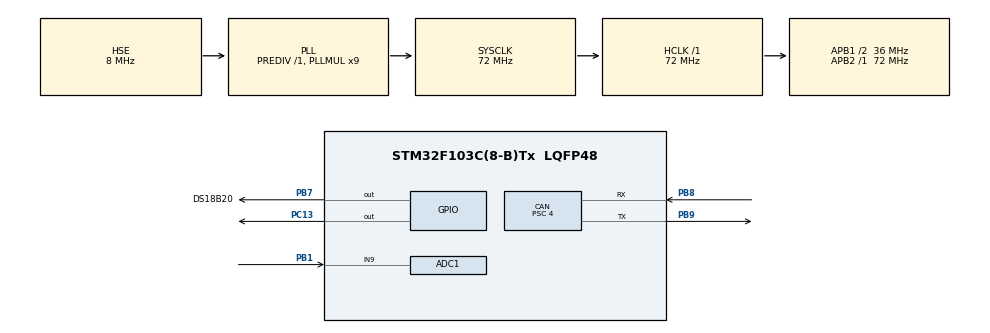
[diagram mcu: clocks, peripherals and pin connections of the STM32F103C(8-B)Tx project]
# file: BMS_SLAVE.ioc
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ADC1.Channel-0\#ChannelRegularConversion=ADC_CHANNEL_9
ADC1.ContinuousConvMode=DISABLE
ADC1.NbrOfConversionFlag=1
ADC1.Rank-0\#ChannelRegularConversion=1
ADC1.SamplingTime-0\#ChannelRegularConversion=ADC_SAMPLETIME_71CYCLES_5
ADC1.master=1
CAN.BS1=CAN_BS1_15TQ
CAN.BS2=CAN_BS2_2TQ
CAN.CalculateBaudRate=500000
CAN.CalculateTimeBit=2000
CAN.CalculateTimeQuantum=111.11111111111111
CAN.Prescaler=4
Mcu.Family=STM32F1
Mcu.Name=STM32F103C(8-B)Tx
Mcu.Package=LQFP48
NVIC.ADC1_2_IRQn=true\:0\:0\:false\:false\:true\:true\:true\:true
NVIC.PriorityGroup=NVIC_PRIORITYGROUP_4
NVIC.TIM2_IRQn=true\:0\:0\:false\:false\:true\:true\:true\:true
NVIC.USB_LP_CAN1_RX0_IRQn=true\:0\:0\:false\:false\:true\:true\:true\:true
PA13.Mode=Serial_Wire
PA13.Signal=SYS_JTMS-SWDIO
PA14.Mode=Serial_Wire
PA14.Signal=SYS_JTCK-SWCLK
PB1.Signal=ADCx_IN9
PB7.GPIO_Label=DS18B20
PB7.GPIO_ModeDefaultOutputPP=GPIO_MODE_OUTPUT_OD
PB7.GPIO_PuPd=GPIO_NOPULL
PB7.GPIO_Speed=GPIO_SPEED_FREQ_HIGH
PB7.PinState=GPIO_PIN_SET
PB7.Signal=GPIO_Output
PB8.Mode=CAN_Activate
PB8.Signal=CAN_RX
PB9.Mode=CAN_Activate
PB9.Signal=CAN_TX
PC13-TAMPER-RTC.Signal=GPIO_Output
PD0-OSC_IN.Mode=HSE-External-Oscillator
PD0-OSC_IN.Signal=RCC_OSC_IN
PD1-OSC_OUT.Mode=HSE-External-Oscillator
PD1-OSC_OUT.Signal=RCC_OSC_OUT
ProjectManager.HeapSize=0x200
ProjectManager.StackSize=0x400
ProjectManager.TargetToolchain=STM32CubeIDE
RCC.ADCPresc=RCC_ADCPCLK2_DIV6
RCC.AHBFreq_Value=72000000
RCC.APB1CLKDivider=RCC_HCLK_DIV2
RCC.APB1Freq_Value=36000000
RCC.APB1TimFreq_Value=72000000
RCC.APB2Freq_Value=72000000
RCC.APB2TimFreq_Value=72000000
RCC.HCLKFreq_Value=72000000
RCC.PLLMUL=RCC_PLL_MUL9
RCC.PLLSourceVirtual=RCC_PLLSOURCE_HSE
RCC.SYSCLKFreq_VALUE=72000000
RCC.SYSCLKSource=RCC_SYSCLKSOURCE_PLLCLK
RCC.USBFreq_Value=72000000
SH.ADCx_IN9.0=ADC1_IN9,IN9
TIM2.Period=99
TIM2.Prescaler=719
TIM4.Prescaler=72-1
VP_TIM2_VS_ClockSourceINT.Mode=Internal
VP_TIM4_VS_ClockSourceINT.Mode=Internal
board=custom

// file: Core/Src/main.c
/* USER CODE BEGIN Header */
/**
 * @file      main.c
 * @author    Do Dang Gia Huy
 * @brief     Board bring-up and scheduler start for the BMS slave node.
 * @date      2026-02-10
 * @copyright Peripheral initialisation generated by STM32CubeMX,
 *            Copyright (c) 2026 STMicroelectronics, licensed under the
 *            terms found in the LICENSE file of that software component.
 *            Application code Copyright (c) 2026 Do Dang Gia Huy.
 *
 * Everything OUTSIDE the USER CODE markers is regenerated from
 * BMS_SLAVE.ioc and must not be edited by hand.
 */
/* USER CODE END Header */
#include "main.h"

/* USER CODE BEGIN Includes */
#include "Scheduler.h"
#include "Shared_Data.h"
#include "BMS_CAN.h"
#include "Task_Voltage.h"
#include "Task_CAN.h"
#include "Task_Temperature.h"
#include "Task_Sleep.h"
#include "Task_SOC.h"
#include "ds18b20.h"
#include "BMS_ADC.h"
#include "Board_Config.h"
#include "Debug_Pins.h"
/* USER CODE END Includes */

ADC_HandleTypeDef hadc1;

CAN_HandleTypeDef hcan;

TIM_HandleTypeDef htim2;
TIM_HandleTypeDef htim4;

void SystemClock_Config(void);
static void MX_GPIO_Init(void);
static void MX_ADC1_Init(void);
static void MX_CAN_Init(void);
static void MX_TIM2_Init(void);
static void MX_TIM4_Init(void);

int main(void)
{

  /* USER CODE BEGIN 1 */

  uint32_t start_delay;

  /* USER CODE END 1 */

  /* MCU Configuration--------------------------------------------------------*/

  /* Reset of all peripherals, Initializes the Flash interface and the Systick. */
  HAL_Init();

  /* Configure the system clock */
  SystemClock_Config();

  /* Initialize all configured peripherals */
  MX_GPIO_Init();
  MX_ADC1_Init();
  MX_CAN_Init();
  MX_TIM2_Init();
  MX_TIM4_Init();
  /* USER CODE BEGIN 2 */
  /* 1. Calibrate the ADC and bring the CAN peripheral up. */
  HAL_ADCEx_Calibration_Start(&hadc1);
  BMS_ADC_Init(&hadc1);     /* hand the handle over before any task runs */
  HAL_CAN_Start(&hcan);
  BMS_CAN_Init(&hcan);
  BMS_CAN_InitRx();

  /* 2. Start the scheduler with an empty table. */
  SCH_Init();

  /* 3. Register the tasks.
   *
   * The last argument is the PRIORITY. It only breaks ties between tasks
   * due on the SAME tick; a higher number runs first.
   *
   * Task_SOC, priority 3: cheap, about 46 us, but it needs an accurate
   * rate, so it goes FIRST, ahead of the blocking Voltage and Temperature
   * tasks. Registered with TASK_SOC_PERIOD_MS so the registered period and
   * the dt measured inside Task_SOC always refer to the same number. */
  (void)SCH_Add_Task(Task_SOC_Run, 0U, TASK_SOC_PERIOD_MS, 3U);

  /* Task_Voltage, priority 2: starts at once, repeats every 50 ms, blocks
   * about 0.7 ms inside the ADC average. */
  (void)SCH_Add_Task(Task_Voltage_Run, 0U, 50U, 2U);

  /* Task_CAN, priority 1: repeats every 1000 ms. The start delay comes
   * from SLAVE_INDEX so the five slaves stay phase staggered and never
   * contend for the bus on the same tick. */
  start_delay = (SLAVE_INDEX * 100U) + 300U;
  (void)SCH_Add_Task(Task_CAN_Run, start_delay, 1000U, 1U);

  /* Start the DS18B20 microsecond time base before its task can run. */
  DS18B20_Init();

  /* Task_Temperature, priority 0: repeats every 1000 ms, offset by 10 ms.
   * It blocks about 4.9 ms bit-banging 1-Wire, so it runs LAST and lets
   * Task_SOC take its update first. */
  (void)SCH_Add_Task(Task_Temperature_Run, 10U, 1000U, 0U);

  /* Task_Sleep, priority 0: repeats every 1000 ms. */
  (void)SCH_Add_Task(Task_Sleep_Run, 0U, 1000U, 0U);
  /* USER CODE END 2 */

  /* Infinite loop */
  /* USER CODE BEGIN WHILE */
  while (1)
  {
	  SCH_Dispatch();

    /* USER CODE END WHILE */

  }
}

void SystemClock_Config(void)
{
  RCC_OscInitTypeDef RCC_OscInitStruct = {0};
  RCC_ClkInitTypeDef RCC_ClkInitStruct = {0};
  RCC_PeriphCLKInitTypeDef PeriphClkInit = {0};

  /** Initializes the RCC Oscillators according to the specified parameters
  * in the RCC_OscInitTypeDef structure.
  */
  RCC_OscInitStruct.OscillatorType = RCC_OSCILLATORTYPE_HSE;
  RCC_OscInitStruct.HSEState = RCC_HSE_ON;
  RCC_OscInitStruct.HSEPredivValue = RCC_HSE_PREDIV_DIV1;
  RCC_OscInitStruct.HSIState = RCC_HSI_ON;
  RCC_OscInitStruct.PLL.PLLState = RCC_PLL_ON;
  RCC_OscInitStruct.PLL.PLLSource = RCC_PLLSOURCE_HSE;
  RCC_OscInitStruct.PLL.PLLMUL = RCC_PLL_MUL9;
  if (HAL_RCC_OscConfig(&RCC_OscInitStruct) != HAL_OK)
  {
    Error_Handler();
  }

  /** Initializes the CPU, AHB and APB buses clocks
  */
  RCC_ClkInitStruct.ClockType = RCC_CLOCKTYPE_HCLK|RCC_CLOCKTYPE_SYSCLK
                              |RCC_CLOCKTYPE_PCLK1|RCC_CLOCKTYPE_PCLK2;
  RCC_ClkInitStruct.SYSCLKSource = RCC_SYSCLKSOURCE_PLLCLK;
  RCC_ClkInitStruct.AHBCLKDivider = RCC_SYSCLK_DIV1;
  RCC_ClkInitStruct.APB1CLKDivider = RCC_HCLK_DIV2;
  RCC_ClkInitStruct.APB2CLKDivider = RCC_HCLK_DIV1;

  if (HAL_RCC_ClockConfig(&RCC_ClkInitStruct, FLASH_LATENCY_2) != HAL_OK)
  {
    Error_Handler();
  }
  PeriphClkInit.PeriphClockSelection = RCC_PERIPHCLK_ADC;
  PeriphClkInit.AdcClockSelection = RCC_ADCPCLK2_DIV6;
  if (HAL_RCCEx_PeriphCLKConfig(&PeriphClkInit) != HAL_OK)
  {
    Error_Handler();
  }
}

static void MX_ADC1_Init(void)
{

  ADC_ChannelConfTypeDef sConfig = {0};

  /** Common config
  */
  hadc1.Instance = ADC1;
  hadc1.Init.ScanConvMode = ADC_SCAN_DISABLE;
  hadc1.Init.ContinuousConvMode = DISABLE;
  hadc1.Init.DiscontinuousConvMode = DISABLE;
  hadc1.Init.ExternalTrigConv = ADC_SOFTWARE_START;
  hadc1.Init.DataAlign = ADC_DATAALIGN_RIGHT;
  hadc1.Init.NbrOfConversion = 1;
  if (HAL_ADC_Init(&hadc1) != HAL_OK)
  {
    Error_Handler();
  }

  /** Configure Regular Channel
  */
  sConfig.Channel = ADC_CHANNEL_9;
  sConfig.Rank = ADC_REGULAR_RANK_1;
  sConfig.SamplingTime = ADC_SAMPLETIME_71CYCLES_5;
  if (HAL_ADC_ConfigChannel(&hadc1, &sConfig) != HAL_OK)
  {
    Error_Handler();
  }

}

static void MX_CAN_Init(void)
{

  hcan.Instance = CAN1;
  hcan.Init.Prescaler = 4;
  hcan.Init.Mode = CAN_MODE_NORMAL;
  hcan.Init.SyncJumpWidth = CAN_SJW_1TQ;
  hcan.Init.TimeSeg1 = CAN_BS1_15TQ;
  hcan.Init.TimeSeg2 = CAN_BS2_2TQ;
  hcan.Init.TimeTriggeredMode = DISABLE;
  hcan.Init.AutoBusOff = ENABLE;
  hcan.Init.AutoWakeUp = DISABLE;
  hcan.Init.AutoRetransmission = DISABLE;
  hcan.Init.ReceiveFifoLocked = DISABLE;
  hcan.Init.TransmitFifoPriority = DISABLE;
  if (HAL_CAN_Init(&hcan) != HAL_OK)
  {
    Error_Handler();
  }

}

static void MX_TIM2_Init(void)
{

  TIM_ClockConfigTypeDef sClockSourceConfig = {0};
  TIM_MasterConfigTypeDef sMasterConfig = {0};

  htim2.Instance = TIM2;
  htim2.Init.Prescaler = 719;
  htim2.Init.CounterMode = TIM_COUNTERMODE_UP;
  htim2.Init.Period = 99;
  htim2.Init.ClockDivision = TIM_CLOCKDIVISION_DIV1;
  htim2.Init.AutoReloadPreload = TIM_AUTORELOAD_PRELOAD_DISABLE;
  if (HAL_TIM_Base_Init(&htim2) != HAL_OK)
  {
    Error_Handler();
  }
  sClockSourceConfig.ClockSource = TIM_CLOCKSOURCE_INTERNAL;
  if (HAL_TIM_ConfigClockSource(&htim2, &sClockSourceConfig) != HAL_OK)
  {
    Error_Handler();
  }
  sMasterConfig.MasterOutputTrigger = TIM_TRGO_RESET;
  sMasterConfig.MasterSlaveMode = TIM_MASTERSLAVEMODE_DISABLE;
  if (HAL_TIMEx_MasterConfigSynchronization(&htim2, &sMasterConfig) != HAL_OK)
  {
    Error_Handler();
  }

}

static void MX_TIM4_Init(void)
{

  TIM_ClockConfigTypeDef sClockSourceConfig = {0};
  TIM_MasterConfigTypeDef sMasterConfig = {0};

  htim4.Instance = TIM4;
  htim4.Init.Prescaler = 72-1;
  htim4.Init.CounterMode = TIM_COUNTERMODE_UP;
  htim4.Init.Period = 65535;
  htim4.Init.ClockDivision = TIM_CLOCKDIVISION_DIV1;
  htim4.Init.AutoReloadPreload = TIM_AUTORELOAD_PRELOAD_DISABLE;
  if (HAL_TIM_Base_Init(&htim4) != HAL_OK)
  {
    Error_Handler();
  }
  sClockSourceConfig.ClockSource = TIM_CLOCKSOURCE_INTERNAL;
  if (HAL_TIM_ConfigClockSource(&htim4, &sClockSourceConfig) != HAL_OK)
  {
    Error_Handler();
  }
  sMasterConfig.MasterOutputTrigger = TIM_TRGO_RESET;
  sMasterConfig.MasterSlaveMode = TIM_MASTERSLAVEMODE_DISABLE;
  if (HAL_TIMEx_MasterConfigSynchronization(&htim4, &sMasterConfig) != HAL_OK)
  {
    Error_Handler();
  }

}

static void MX_GPIO_Init(void)
{
  GPIO_InitTypeDef GPIO_InitStruct = {0};

  /* GPIO Ports Clock Enable */
  __HAL_RCC_GPIOC_CLK_ENABLE();
  __HAL_RCC_GPIOD_CLK_ENABLE();
  __HAL_RCC_GPIOB_CLK_ENABLE();
  __HAL_RCC_GPIOA_CLK_ENABLE();

  /*Configure GPIO pin Output Level */
  HAL_GPIO_WritePin(GPIOC, GPIO_PIN_13, GPIO_PIN_RESET);

  /*Configure GPIO pin Output Level */
  HAL_GPIO_WritePin(DS18B20_GPIO_Port, DS18B20_Pin, GPIO_PIN_SET);

  /*Configure GPIO pin : PC13 */
  GPIO_InitStruct.Pin = GPIO_PIN_13;
  GPIO_InitStruct.Mode = GPIO_MODE_OUTPUT_PP;
  GPIO_InitStruct.Pull = GPIO_NOPULL;
  GPIO_InitStruct.Speed = GPIO_SPEED_FREQ_LOW;
  HAL_GPIO_Init(GPIOC, &GPIO_InitStruct);

  /*Configure GPIO pin : DS18B20_Pin */
  GPIO_InitStruct.Pin = DS18B20_Pin;
  GPIO_InitStruct.Mode = GPIO_MODE_OUTPUT_OD;
  GPIO_InitStruct.Pull = GPIO_NOPULL;
  GPIO_InitStruct.Speed = GPIO_SPEED_FREQ_HIGH;
  HAL_GPIO_Init(DS18B20_GPIO_Port, &GPIO_InitStruct);

  /* USER CODE BEGIN MX_GPIO_Init_2 */
  DBG_Pins_Init();          // PA0..PA5: chan bao thoi gian cho logic analyzer
  /* USER CODE END MX_GPIO_Init_2 */
}

void Error_Handler(void)
{
  __disable_irq();
  while (1)
  {
  }
}
